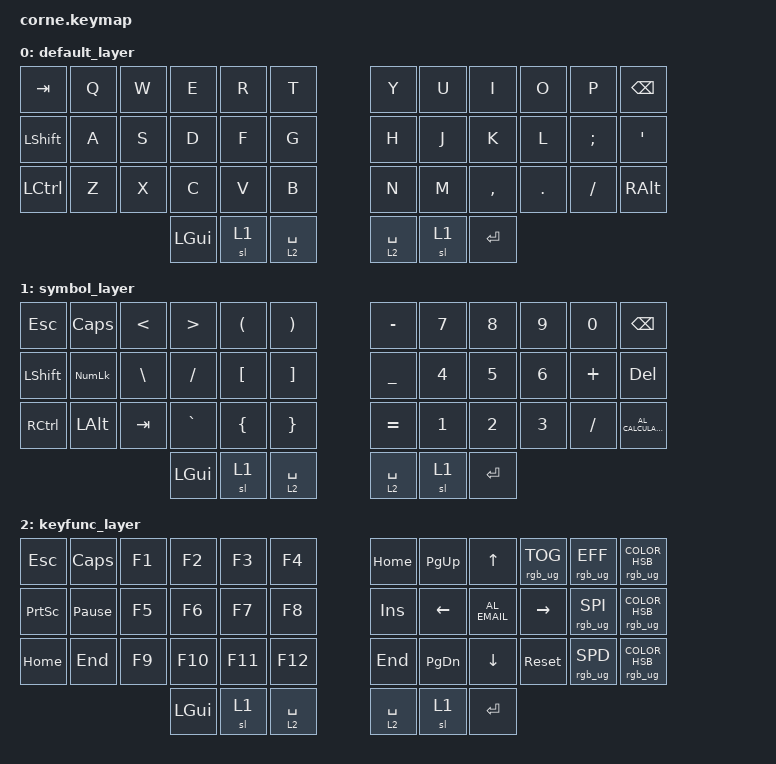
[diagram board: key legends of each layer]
/*
 * Copyright (c) 2020 The ZMK Contributors
 *
 * SPDX-License-Identifier: MIT
 */

#include <behaviors.dtsi>
#include <dt-bindings/zmk/keys.h>
#include <dt-bindings/zmk/rgb.h>

&led_strip { chain-length = <27>; };

/ {
    macros {
        ctrlaltdel: ctrlaltdel {
            compatible = "zmk,behavior-macro";
            #binding-cells = <0>;
            bindings =
                <&macro_press>,
                <&kp LEFT_CONTROL &kp LEFT_ALT &kp DEL>,
                <&macro_release>;

            label = "CTRLALTDEL";
        };

        task_mgr: task_mgr {
            compatible = "zmk,behavior-macro";
            #binding-cells = <0>;
            bindings =
                <&macro_press>,
                <&kp LEFT_CONTROL &kp LEFT_SHIFT &kp ESCAPE>,
                <&macro_release>;

            label = "TASK_MGR";
        };

        all: all {
            compatible = "zmk,behavior-macro";
            #binding-cells = <0>;
            bindings =
                <&macro_press>,
                <&kp LEFT_CONTROL &kp A>,
                <&macro_release>;

            label = "ALL";
        };

        save: save {
            compatible = "zmk,behavior-macro";
            #binding-cells = <0>;
            bindings =
                <&macro_press>,
                <&kp LEFT_CONTROL &kp S>,
                <&macro_release>;

            label = "SAVE";
        };

        paste: paste {
            compatible = "zmk,behavior-macro";
            #binding-cells = <0>;
            bindings =
                <&macro_press>,
                <&kp LEFT_CONTROL &kp V>,
                <&macro_release>;

            label = "PASTE";
        };

        cut: cut {
            compatible = "zmk,behavior-macro";
            #binding-cells = <0>;
            bindings =
                <&macro_press>,
                <&kp LEFT_CONTROL &kp X>,
                <&macro_release>;

            label = "CUT";
        };

        undo: undo {
            compatible = "zmk,behavior-macro";
            #binding-cells = <0>;
            bindings =
                <&macro_press>,
                <&kp LEFT_CONTROL &kp Z>,
                <&macro_release>;

            label = "UNDO";
        };

        copy: copy {
            compatible = "zmk,behavior-macro";
            #binding-cells = <0>;
            bindings =
                <&macro_press>,
                <&kp LEFT_CONTROL &kp C>,
                <&macro_release>;

            label = "COPY";
        };

        redo: redo {
            compatible = "zmk,behavior-macro";
            #binding-cells = <0>;
            bindings =
                <&macro_press>,
                <&kp LEFT_CONTROL &kp Y>,
                <&macro_release>;

            label = "REDO";
        };

        saveas: saveas {
            compatible = "zmk,behavior-macro";
            #binding-cells = <0>;
            bindings =
                <&macro_press>,
                <&kp LEFT_CONTROL &kp LEFT_SHIFT &kp S>,
                <&macro_release>;

            label = "SAVEAS";
        };
    };

    keymap {
        compatible = "zmk,keymap";

        default_layer {
            // -----------------------------------------------------------------------------------------
            // |  TAB |  Q  |  W  |  E  |  R  |  T  |   |  Y  |  U   |  I  |  O  |  P  | BKSP |
            // | CTRL |  A  |  S  |  D  |  F  |  G  |   |  H  |  J   |  K  |  L  |  ;  |  '   |
            // | SHFT |  Z  |  X  |  C  |  V  |  B  |   |  N  |  M   |  ,  |  .  |  /  | SHFT |
            //                    | GUI | LWR | ENT |   | SPC | RSE  | ALT |

            bindings = <
&kp TAB         &kp Q  &kp W  &kp E     &kp R  &kp T          &kp Y        &kp U  &kp I      &kp O    &kp P     &kp BACKSPACE
&kp LEFT_SHIFT  &kp A  &kp S  &kp D     &kp F  &kp G          &kp H        &kp J  &kp K      &kp L    &kp SEMI  &kp SQT
&kp LCTRL       &kp Z  &kp X  &kp C     &kp V  &kp B          &kp N        &kp M  &kp COMMA  &kp DOT  &kp FSLH  &kp RIGHT_ALT
                              &kp LGUI  &sl 1  &lt 2 SPACE    &lt 2 SPACE  &sl 1  &kp RET
            >;
        };

        symbol_layer {
            bindings = <
&kp ESCAPE      &kp CAPS        &kp LESS_THAN  &kp GREATER_THAN  &kp LEFT_PARENTHESIS  &kp RIGHT_PARENTHESIS    &kp MINUS    &kp N7        &kp N8        &kp N9        &kp N0     &kp BACKSPACE
&kp LEFT_SHIFT  &kp KP_NUMLOCK  &kp BACKSLASH  &kp SLASH         &kp LEFT_BRACKET      &kp RIGHT_BRACKET        &kp UNDER    &kp NUMBER_4  &kp N5        &kp NUMBER_6  &kp PLUS   &kp DEL
&kp RCTRL       &kp LEFT_ALT    &kp TAB        &kp GRAVE         &kp LEFT_BRACE        &kp RIGHT_BRACE          &kp EQUAL    &kp NUMBER_1  &kp NUMBER_2  &kp NUMBER_3  &kp SLASH  &kp C_AL_CALCULATOR
                                               &kp LEFT_GUI      &sl 1                 &lt 2 SPACE              &lt 2 SPACE  &sl 1         &kp ENTER
            >;
        };

        keyfunc_layer {
            bindings = <
&kp ESCAPE       &kp CAPSLOCK     &kp F1  &kp F2        &kp F3   &kp F4         &kp HOME     &kp PG_UP      &kp UP_ARROW    &rgb_ug RGB_TOG  &rgb_ug RGB_EFF  &rgb_ug RGB_COLOR_HSB(268,100,50)
&kp PRINTSCREEN  &kp PAUSE_BREAK  &kp F5  &kp F6        &kp F7   &kp F8         &kp INS      &kp LEFT       &kp C_AL_EMAIL  &kp RIGHT        &rgb_ug RGB_SPI  &rgb_ug RGB_COLOR_HSB(330,100,50)
&kp HOME         &kp END          &kp F9  &kp F10       &kp F11  &kp F12        &kp END      &kp PAGE_DOWN  &kp DOWN        &sys_reset       &rgb_ug RGB_SPD  &rgb_ug RGB_COLOR_HSB(0,100,50)
                                          &kp LEFT_GUI  &sl 1    &lt 2 SPACE    &lt 2 SPACE  &sl 1          &kp ENTER
            >;
        };
    };
};
